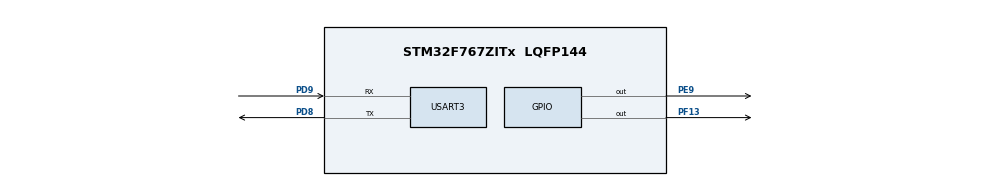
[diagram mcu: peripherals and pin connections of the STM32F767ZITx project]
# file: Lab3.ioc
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Mcu.Family=STM32F7
Mcu.Name=STM32F767ZITx
Mcu.Package=LQFP144
NVIC.PriorityGroup=NVIC_PRIORITYGROUP_4
PD8.Mode=Asynchronous
PD8.Signal=USART3_TX
PD9.Mode=Asynchronous
PD9.Signal=USART3_RX
PE9.Signal=GPIO_Output
PF13.Signal=GPIO_Output
ProjectManager.HeapSize=0x200
ProjectManager.StackSize=0x400
ProjectManager.TargetToolchain=STM32CubeIDE
RCC.HSE_VALUE=25000000
RCC.HSI_VALUE=16000000
RCC.LSE_VALUE=32768
RCC.USBFreq_Value=96000000
RCC.VCOOutputFreq_Value=192000000
USART3.VirtualMode-Asynchronous=VM_ASYNC
board=custom

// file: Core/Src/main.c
/* USER CODE BEGIN Header */
/**
  ******************************************************************************
  * @file           : main.c
  * @brief          : Main program body
  ******************************************************************************
  * @attention
  *
  * Copyright (c) 2023 STMicroelectronics.
  * All rights reserved.
  *
  * This software is licensed under terms that can be found in the LICENSE file
  * in the root directory of this software component.
  * If no LICENSE file comes with this software, it is provided AS-IS.
  *
  ******************************************************************************
  */
/* USER CODE END Header */
#include "main.h"

/* USER CODE BEGIN Includes */

#include "string.h"
/* USER CODE END Includes */

/* USER CODE BEGIN PM */
int active = 1;
/* USER CODE END PM */

UART_HandleTypeDef huart3;

void SystemClock_Config(void);
static void MPU_Initialize(void);
static void MPU_Config(void);
static void MX_GPIO_Init(void);
static void MX_USART3_UART_Init(void);

int main(void)
{

  /* MCU Configuration--------------------------------------------------------*/

  /* Reset of all peripherals, Initializes the Flash interface and the Systick. */
  HAL_Init();

  /* MPU Configuration--------------------------------------------------------*/
  MPU_Config();

  /* Configure the system clock */
  SystemClock_Config();

  /* Initialize all configured peripherals */
  MX_GPIO_Init();
  MX_USART3_UART_Init();
  /* USER CODE BEGIN 2 */
  char str1[100] = "Display Blinking LED PRESS (1,2)\nDisplay Group Members PRESS m\nQuit PRESS q\n";
  while(__HAL_UART_GET_FLAG(&huart3,UART_FLAG_TC) == RESET){}
  HAL_UART_Transmit(&huart3, (uint8_t*) str1, strlen(str1), 1000);
  /* USER CODE END 2 */

  /* Infinite loop */
  /* USER CODE BEGIN WHILE */
  while (1)
  {
	  // ข้อ 3
	 	  /*if(active == 1){
	 	  char str[20] = "Input => ";
	 	  char ch1=' ';
	 	  char ch2='\n';
	 	  while(__HAL_UART_GET_FLAG(&huart3,UART_FLAG_TC) == RESET){}
	 	  HAL_UART_Receive(&huart3, (uint8_t*) &ch1, 1, 1000);
	 	  //strcat(str,ch1);
	 	  if(ch1!=' '){
	 	  HAL_UART_Transmit(&huart3, (uint8_t*) str, strlen(str), 1000);
	 	  HAL_UART_Transmit(&huart3, (uint8_t*) &ch1, 1, 1000);
	 	  HAL_UART_Transmit(&huart3, (uint8_t*) &ch2, 1, 1000);
	 	  if(ch1=='q'){
	 	  HAL_UART_Transmit(&huart3, (uint8_t*) "QUIT", 4, 1000);
	 	  active = 0;
	 	  }
	 	  }
	 	  }*/

	 	  // ข้อ 4
	 	  if(active == 1){
	 		  char ch2='\n';
	 	  	  char str[100] = "\tInput => ";
	 	  	  char mem[100] = "64010304\nThanakrit Punseema\n64010325\nThanapat Jonglertthiti\n64010522\nParita Nawaree\n";
	 	  	  char ch1=' ';
	 	  	  while(__HAL_UART_GET_FLAG(&huart3,UART_FLAG_TC) == RESET){}
	 	  	  HAL_UART_Transmit(&huart3, (uint8_t*) str, strlen(str), 1000);

	 	  	  //strcat(str,ch1);
	 	  	  while(ch1==' '){HAL_UART_Receive(&huart3, (uint8_t*) &ch1, 1, 1000);}
	 	  	  HAL_UART_Transmit(&huart3, (uint8_t*) &ch1, 1, 1000);
	 	  	  HAL_UART_Transmit(&huart3, (uint8_t*) &ch2, 1, 1000);
	 	  	  if(ch1=='1'){
	 	  		  for(int i=0;i<3;i++){
	 	  		  HAL_GPIO_WritePin(GPIOF, GPIO_PIN_13, 1);
	 	  		  HAL_Delay(300);
	 	  		  HAL_GPIO_WritePin(GPIOF, GPIO_PIN_13, 0);
	 	  		  HAL_Delay(300);
	 	  		  }
	 	  	  }
	 	  	  else if(ch1=='2'){
	 	  		  for(int i=0;i<3;i++){
	 	  		  HAL_GPIO_WritePin(GPIOE, GPIO_PIN_9, 1);
	 	  		  HAL_Delay(300);
	 	  		  HAL_GPIO_WritePin(GPIOE, GPIO_PIN_9, 0);
	 	  		  HAL_Delay(300);
	 	  		  }
	 	  	  }
	 	  	  else if(ch1=='m'){
	 	  	  HAL_UART_Transmit(&huart3, (uint8_t*) mem, strlen(mem), 1000);
	 	  	  }
	 	  	  else if(ch1=='q'){
	 	  	  HAL_UART_Transmit(&huart3, (uint8_t*) "QUIT", 4, 1000);
	 	  	  active = 0;
	 	  	  }
	 	  	  else{
	 	  		HAL_UART_Transmit(&huart3, (uint8_t*) "Unknown Command\n", 16, 1000);
	 	  	  }

	 	  	  }
    /* USER CODE END WHILE */

  }
}

void SystemClock_Config(void)
{
  RCC_OscInitTypeDef RCC_OscInitStruct = {0};
  RCC_ClkInitTypeDef RCC_ClkInitStruct = {0};

  /** Configure the main internal regulator output voltage
  */
  __HAL_RCC_PWR_CLK_ENABLE();
  __HAL_PWR_VOLTAGESCALING_CONFIG(PWR_REGULATOR_VOLTAGE_SCALE3);

  /** Initializes the RCC Oscillators according to the specified parameters
  * in the RCC_OscInitTypeDef structure.
  */
  RCC_OscInitStruct.OscillatorType = RCC_OSCILLATORTYPE_HSI;
  RCC_OscInitStruct.HSIState = RCC_HSI_ON;
  RCC_OscInitStruct.HSICalibrationValue = RCC_HSICALIBRATION_DEFAULT;
  RCC_OscInitStruct.PLL.PLLState = RCC_PLL_NONE;
  if (HAL_RCC_OscConfig(&RCC_OscInitStruct) != HAL_OK)
  {
    Error_Handler();
  }

  /** Initializes the CPU, AHB and APB buses clocks
  */
  RCC_ClkInitStruct.ClockType = RCC_CLOCKTYPE_HCLK|RCC_CLOCKTYPE_SYSCLK
                              |RCC_CLOCKTYPE_PCLK1|RCC_CLOCKTYPE_PCLK2;
  RCC_ClkInitStruct.SYSCLKSource = RCC_SYSCLKSOURCE_HSI;
  RCC_ClkInitStruct.AHBCLKDivider = RCC_SYSCLK_DIV1;
  RCC_ClkInitStruct.APB1CLKDivider = RCC_HCLK_DIV1;
  RCC_ClkInitStruct.APB2CLKDivider = RCC_HCLK_DIV1;

  if (HAL_RCC_ClockConfig(&RCC_ClkInitStruct, FLASH_LATENCY_0) != HAL_OK)
  {
    Error_Handler();
  }
}

static void MX_USART3_UART_Init(void)
{

  huart3.Instance = USART3;
  huart3.Init.BaudRate = 115200;
  huart3.Init.WordLength = UART_WORDLENGTH_8B;
  huart3.Init.StopBits = UART_STOPBITS_1;
  huart3.Init.Parity = UART_PARITY_NONE;
  huart3.Init.Mode = UART_MODE_TX_RX;
  huart3.Init.HwFlowCtl = UART_HWCONTROL_NONE;
  huart3.Init.OverSampling = UART_OVERSAMPLING_16;
  huart3.Init.OneBitSampling = UART_ONE_BIT_SAMPLE_DISABLE;
  huart3.AdvancedInit.AdvFeatureInit = UART_ADVFEATURE_NO_INIT;
  if (HAL_UART_Init(&huart3) != HAL_OK)
  {
    Error_Handler();
  }

}

static void MX_GPIO_Init(void)
{
  GPIO_InitTypeDef GPIO_InitStruct = {0};

  /* GPIO Ports Clock Enable */
  __HAL_RCC_GPIOF_CLK_ENABLE();
  __HAL_RCC_GPIOE_CLK_ENABLE();
  __HAL_RCC_GPIOD_CLK_ENABLE();

  /*Configure GPIO pin Output Level */
  HAL_GPIO_WritePin(GPIOF, GPIO_PIN_13, GPIO_PIN_RESET);

  /*Configure GPIO pin Output Level */
  HAL_GPIO_WritePin(GPIOE, GPIO_PIN_9, GPIO_PIN_RESET);

  /*Configure GPIO pin : PF13 */
  GPIO_InitStruct.Pin = GPIO_PIN_13;
  GPIO_InitStruct.Mode = GPIO_MODE_OUTPUT_PP;
  GPIO_InitStruct.Pull = GPIO_NOPULL;
  GPIO_InitStruct.Speed = GPIO_SPEED_FREQ_LOW;
  HAL_GPIO_Init(GPIOF, &GPIO_InitStruct);

  /*Configure GPIO pin : PE9 */
  GPIO_InitStruct.Pin = GPIO_PIN_9;
  GPIO_InitStruct.Mode = GPIO_MODE_OUTPUT_PP;
  GPIO_InitStruct.Pull = GPIO_NOPULL;
  GPIO_InitStruct.Speed = GPIO_SPEED_FREQ_LOW;
  HAL_GPIO_Init(GPIOE, &GPIO_InitStruct);

}

/* MPU Configuration */

void MPU_Config(void)
{
  MPU_Region_InitTypeDef MPU_InitStruct = {0};

  /* Disables the MPU */
  HAL_MPU_Disable();

  /** Initializes and configures the Region and the memory to be protected
  */
  MPU_InitStruct.Enable = MPU_REGION_ENABLE;
  MPU_InitStruct.Number = MPU_REGION_NUMBER0;
  MPU_InitStruct.BaseAddress = 0x0;
  MPU_InitStruct.Size = MPU_REGION_SIZE_4GB;
  MPU_InitStruct.SubRegionDisable = 0x87;
  MPU_InitStruct.TypeExtField = MPU_TEX_LEVEL0;
  MPU_InitStruct.AccessPermission = MPU_REGION_NO_ACCESS;
  MPU_InitStruct.DisableExec = MPU_INSTRUCTION_ACCESS_DISABLE;
  MPU_InitStruct.IsShareable = MPU_ACCESS_SHAREABLE;
  MPU_InitStruct.IsCacheable = MPU_ACCESS_NOT_CACHEABLE;
  MPU_InitStruct.IsBufferable = MPU_ACCESS_NOT_BUFFERABLE;

  HAL_MPU_ConfigRegion(&MPU_InitStruct);
  /* Enables the MPU */
  HAL_MPU_Enable(MPU_PRIVILEGED_DEFAULT);

}

void Error_Handler(void)
{
  __disable_irq();
  while (1)
  {
  }
}
